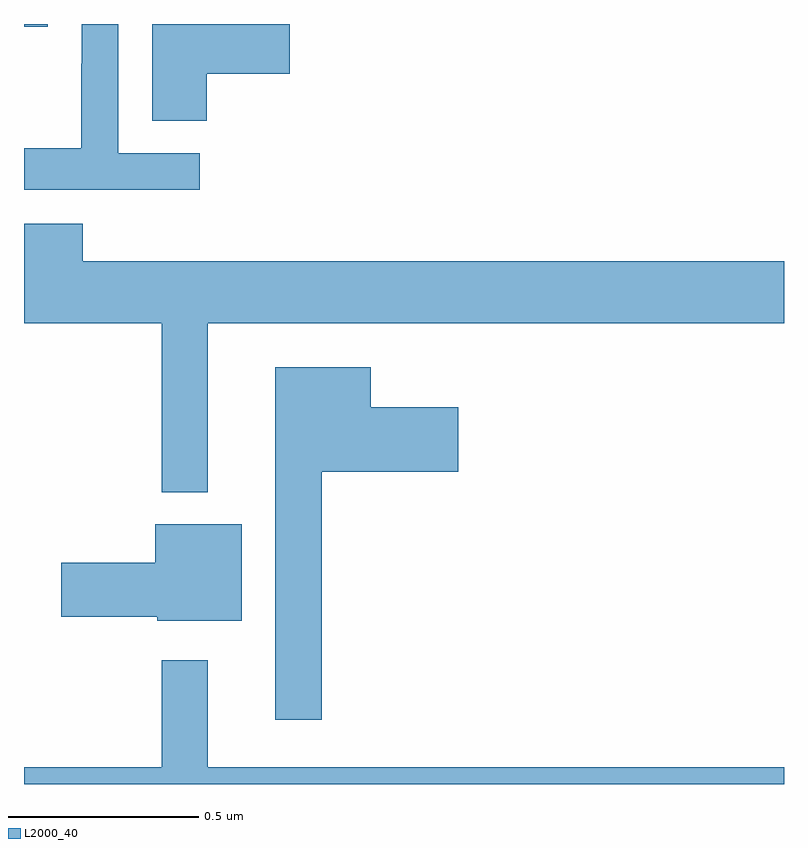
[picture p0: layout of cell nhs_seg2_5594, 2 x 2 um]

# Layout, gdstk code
import gdstk
lib = gdstk.Library(unit=1e-6, precision=1e-09)
def R(c, l, rs):  # rectangles x0, y0, x1, y1
    for r in rs: c.add(gdstk.rectangle(r[:2], r[2:], *l))
def P(c, l, *ps):  # polygons
    for p in ps: c.add(gdstk.Polygon(p, *l))
L2000_40 = (2000, 40)

nhs_seg2_5594 = lib.new_cell('nhs_seg2_5594')
R(nhs_seg2_5594, L2000_40, [(181,605.793,181.063,605.8)])
P(nhs_seg2_5594, L2000_40, [(181.462,605.46),(181.248,605.46),(181.248,605.8),(181.152,605.8),(181.152,605.696),(181.15,605.696),(181.15,605.473),(181,605.473),(181,605.364),(181.462,605.364)],
  [(181.481,605.669),(181.699,605.669),(181.699,605.8),(181.337,605.8),(181.337,605.545),(181.481,605.545)],
  [(181.483,605.012),(183,605.012),(183,605.176),(181.154,605.176),(181.154,605.275),(181.001,605.275),(181.001,605.176),(181,605.176),(181,605.012),(181.362,605.012),(181.362,604.568),(181.483,604.568)],
  [(181.783,604.622),(182.143,604.622),(182.143,604.792),(181.912,604.792),(181.912,604.897),(181.661,604.897),(181.661,603.969),(181.783,603.969)],
  [(181.573,604.483),(181.346,604.483),(181.346,604.382),(181.098,604.382),(181.098,604.24),(181.35,604.24),(181.35,604.229),(181.573,604.229)],
  [(183,603.844),(181.483,603.844),(181.483,604.126),(181.362,604.126),(181.362,603.844),(181,603.844),(181,603.8),(183,603.8)])

lib.write_gds('nhs_seg2_5594.gds')
